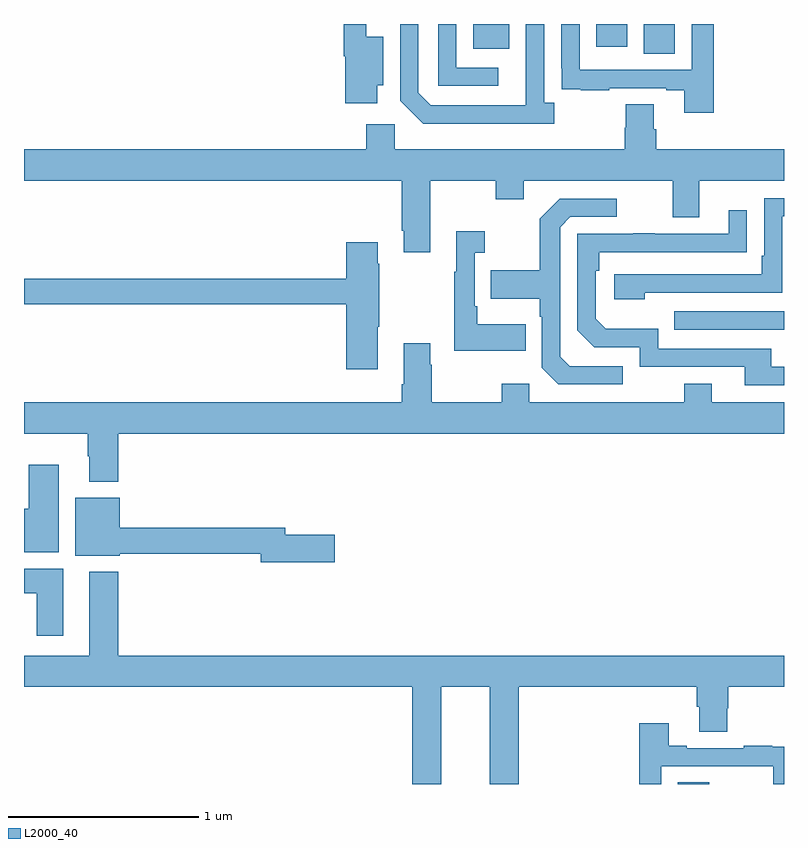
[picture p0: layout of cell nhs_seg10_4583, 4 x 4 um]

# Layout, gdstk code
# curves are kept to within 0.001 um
import gdstk
lib = gdstk.Library(unit=1e-6, precision=1e-09)
def R(c, l, rs):  # rectangles x0, y0, x1, y1
    for r in rs: c.add(gdstk.rectangle(r[:2], r[2:], *l))
def P(c, l, *ps):  # polygons
    for p in ps: c.add(gdstk.Polygon(p, *l))
L2000_40 = (2000, 40)

nhs_seg10_4583 = lib.new_cell('nhs_seg10_4583')
R(nhs_seg10_4583, L2000_40, [(376.442,1270.5,376.606,1270.508), (376.423,1272.891,377,1272.987), (376.262,1274.344,376.426,1274.5), (375.365,1274.369,375.553,1274.5), (376.013,1274.379,376.174,1274.5)])
P(nhs_seg10_4583, L2000_40, [(376.631,1274.5),(376.515,1274.5),(376.515,1274.259),(375.924,1274.259),(375.924,1274.5),(375.828,1274.5),(375.828,1274.266),(375.829,1274.266),(375.829,1274.157),(375.931,1274.157),(375.931,1274.151),(376.079,1274.151),(376.079,1274.163),(376.379,1274.163),(376.379,1274.151),(376.475,1274.151),(376.475,1274.034),(376.631,1274.034)],
  [(375.496,1274.271),(375.276,1274.271),(375.276,1274.5),(375.18,1274.5),(375.18,1274.175),(375.496,1274.175)],
  [(375.79,1274.086),(375.738,1274.086),(375.738,1274.5),(375.642,1274.5),(375.641,1274.073),(375.141,1274.073),(375.075,1274.139),(375.075,1274.5),(374.979,1274.5),(374.979,1274.097),(375.1,1273.976),(375.79,1273.976)],
  [(374.86,1274.177),(374.89,1274.177),(374.89,1274.434),(374.801,1274.434),(374.801,1274.5),(374.683,1274.5),(374.683,1274.33),(374.69,1274.33),(374.69,1274.082),(374.86,1274.082)],
  [(375.139,1273.676),(375.484,1273.676),(375.484,1273.577),(375.631,1273.577),(375.631,1273.676),(376.415,1273.676),(376.415,1273.482),(376.555,1273.482),(376.555,1273.676),(377,1273.676),(377,1273.84),(376.328,1273.84),(376.328,1273.946),(376.315,1273.946),(376.315,1274.078),(376.168,1274.078),(376.168,1273.953),(376.163,1273.953),(376.163,1273.84),(374.952,1273.84),(374.952,1273.972),(374.801,1273.972),(374.801,1273.84),(373,1273.84),(373,1273.676),(374.987,1273.676),(374.987,1273.411),(374.999,1273.411),(374.999,1273.299),(375.139,1273.299)],
  [(376.268,1273.086),(376.992,1273.086),(376.992,1273.488),(377,1273.488),(377,1273.584),(376.896,1273.584),(376.896,1273.279),(376.883,1273.279),(376.883,1273.182),(376.107,1273.182),(376.107,1273.052),(376.268,1273.052)],
  [(376.15,1272.699),(375.873,1272.699),(375.822,1272.75),(375.822,1273.431),(375.876,1273.485),(376.12,1273.485),(376.12,1273.581),(375.819,1273.581),(375.714,1273.475),(375.714,1273.203),(375.457,1273.203),(375.457,1273.055),(375.714,1273.055),(375.714,1272.959),(375.726,1272.959),(375.726,1272.69),(375.813,1272.603),(376.15,1272.603)],
  [(377,1272.696),(376.933,1272.696),(376.933,1272.792),(376.338,1272.792),(376.338,1272.895),(376.061,1272.895),(376.008,1272.948),(376.008,1273.202),(376.028,1273.202),(376.028,1273.299),(376.805,1273.3),(376.805,1273.519),(376.709,1273.519),(376.709,1273.395),(376.319,1273.395),(376.319,1273.4),(376.207,1273.4),(376.207,1273.395),(375.912,1273.395),(375.912,1272.888),(376.002,1272.798),(376.242,1272.798),(376.242,1272.696),(376.793,1272.696),(376.793,1272.6),(377,1272.6)],
  [(375.641,1272.919),(375.385,1272.919),(375.385,1273.015),(375.372,1273.015),(375.372,1273.295),(375.424,1273.295),(375.424,1273.408),(375.275,1273.408),(375.275,1273.195),(375.264,1273.195),(375.264,1272.779),(375.641,1272.779)],
  [(374.863,1272.907),(374.871,1272.907),(374.871,1273.238),(374.863,1273.238),(374.863,1273.351),(374.696,1273.351),(374.696,1273.16),(373,1273.16),(373,1273.024),(374.696,1273.024),(374.696,1272.684),(374.863,1272.684)],
  [(373.496,1272.344),(377,1272.344),(377,1272.508),(376.621,1272.508),(376.621,1272.607),(376.474,1272.607),(376.474,1272.508),(375.66,1272.508),(375.66,1272.607),(375.514,1272.607),(375.514,1272.508),(375.147,1272.508),(375.147,1272.707),(375.139,1272.707),(375.139,1272.82),(374.999,1272.82),(374.999,1272.604),(374.987,1272.604),(374.987,1272.508),(373,1272.508),(373,1272.344),(373.336,1272.344),(373.336,1272.224),(373.343,1272.224),(373.343,1272.092),(373.496,1272.092)],
  [(373.183,1272.181),(373.025,1272.181),(373.025,1271.95),(373,1271.95),(373,1271.72),(373.183,1271.72)],
  [(374.635,1271.813),(374.374,1271.813),(374.374,1271.849),(373.504,1271.849),(373.504,1272.007),(373.271,1272.007),(373.271,1271.702),(373.504,1271.702),(373.504,1271.713),(374.246,1271.713),(374.246,1271.666),(374.635,1271.666)],
  [(373.207,1271.632),(373,1271.632),(373,1271.504),(373.067,1271.504),(373.067,1271.28),(373.207,1271.28)],
  [(373.496,1271.617),(373.343,1271.617),(373.343,1271.176),(373,1271.176),(373,1271.012),(375.044,1271.012),(375.044,1270.5),(375.196,1270.5),(375.196,1271.012),(375.452,1271.012),(375.452,1270.5),(375.605,1270.5),(375.605,1271.012),(376.541,1271.012),(376.541,1270.906),(376.553,1270.906),(376.553,1270.774),(376.701,1270.774),(376.701,1270.899),(376.706,1270.899),(376.706,1271.012),(377,1271.012),(377,1271.176),(373.496,1271.176)],
  [(376.353,1270.593),(376.944,1270.593),(376.944,1270.5),(377,1270.5),(377,1270.695),(376.937,1270.695),(376.937,1270.702),(376.789,1270.702),(376.789,1270.689),(376.489,1270.689),(376.489,1270.702),(376.393,1270.702),(376.393,1270.819),(376.237,1270.819),(376.237,1270.5),(376.353,1270.5)])

lib.write_gds('nhs_seg10_4583.gds')
